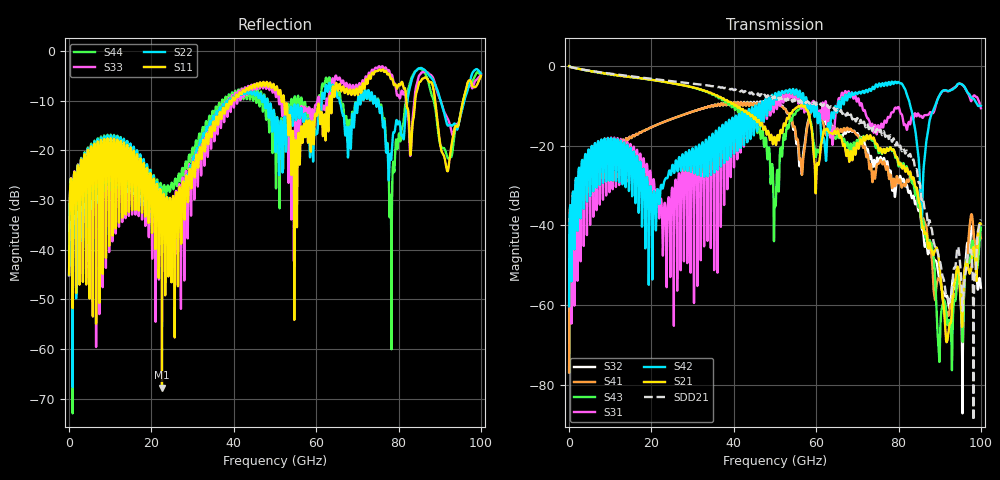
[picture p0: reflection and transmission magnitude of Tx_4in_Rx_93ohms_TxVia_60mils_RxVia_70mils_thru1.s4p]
! Info: Touchstone file created by Circ.  Input file=Tx_4in_Rx_93ohms_TxVia_60mils_RxVia_70mils.circ
# Hz S RI R 50
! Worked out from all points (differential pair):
!   10000 points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, 10 MHz to 100 GHz, reference 50 ohm
!   strongest paths, dB at 10 MHz, 25.01 GHz, 50.01 GHz, 75.01 GHz, 100 GHz:
!     S21: 0.0, -4.3, -18.4, -20.4, -39.7
!     S42: -60.3, -25.3, -7.0, -5.0, -10.0
!     S31: -60.3, -30.6, -8.3, -14.9, -10.6
!     S43: 0.0, -4.3, -34.3, -21.2, -40.6
!     S41: -76.9, -13.3, -9.6, -24.6, -43.3
!     S32: -76.9, -13.3, -9.3, -23.6, -55.7
!   taken as a pair (ports 1,3 in; 2,4 out), SDD21 dB: 0.0, -3.8, -7.9, -16.4, -38.6
!   lowest |S11| = -67.8 dB at 22.56 GHz (marker M1), VSWR 1.00, Z = 50 - j0.0356 ohm
!   |S11| at or under -10 dB: start of sweep to 38.99 GHz; 52.21 GHz to 63.2 GHz (10.99 GHz wide, 19 % of centre); 88.91 GHz to 95.7 GHz (6.791 GHz wide, 7.36 % of centre) (the widest 3 of 7)
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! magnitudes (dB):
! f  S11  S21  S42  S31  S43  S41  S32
! 10 MHz  -45.0  0.0  -60.3  -60.3  0.0  -76.9  -76.9
! 3.29 GHz  -33.0  -0.9  -24.3  -24.5  -0.9  -28.9  -28.9
! 22.56 GHz  -67.8  -3.9  -30.4  -36.8  -3.9  -14.3  -14.3
! 78.45 GHz  -5.6  -21.1  -4.0  -11.6  -21.4  -30.7  -31.2
! 85.57 GHz  -5.9  -39.1  -38.8  -12.6  -39.0  -39.3  -40.2
! 91.8 GHz  -24.1  -69.1  -6.2  -6.3  -64.8  -61.8  -57.7
! 100 GHz  -5.0  -39.7  -10.0  -10.6  -40.6  -43.3  -55.7
